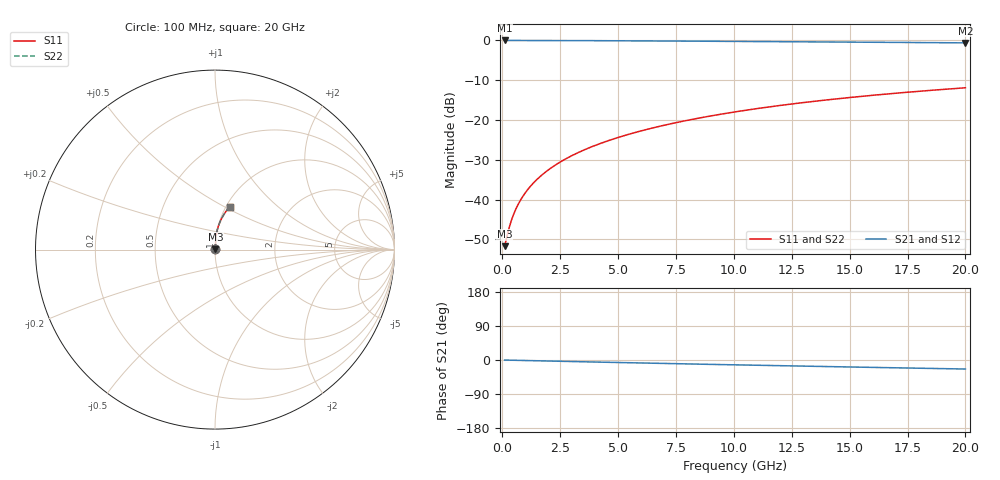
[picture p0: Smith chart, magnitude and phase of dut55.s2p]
! Touchstone file exported from HFSS 2024.1.0
!  File:  C:/UserFiles/LocalFiles/RDL_TSV_Batchsim/temp_RDL_top_55_1778681483.aedt
!  Generated:  10:13:49 PM May 13, 2026
!  Design:  RDL_top
!  Project:  temp_RDL_top_55_1778681483
!  Setup:  Setup1
!  Solution:  Sweep
! Variables:
!  dtsv = 10.80580581um
!  hbump = 3um
!  htsv = 82.56um
!  ldown = 100um
!  lrdl = 305.19um
!  p = 40
!  p1 = 46.38um
!  rhole = 1um
!  t = 450um
!  tdown = 3.915915916um
!  trdl = 2.71um
!  wdown = 15.38538539um
!  wrdl = 20.05um
# GHz S MA R 50.000000
! Terminal data exported
! Port[1] = Box2_T1
! Port[2] = Box2_T2
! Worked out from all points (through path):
!   200 points, 100 MHz to 20 GHz, reference 50 ohm
!   highest |S21| = -0.02 dB at 100 MHz (marker M1); lowest = -0.6 dB at 20 GHz (marker M2)
!   group delay of S21, straight-line fit = 3.29 ps
!   lowest |S11| = -51.7 dB at 100 MHz (marker M3), VSWR 1.01, Z = 50.2 + j0.128 ohm
!   |S11| at or under -10 dB: start of sweep to end of sweep
!   |S22| runs from -51.7 to -11.9 dB; largest |S21 - S12| = 2.5e-15
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0.1  0.002592 29.5  0.9977 -0.1  0.9977 -0.1  0.002592 29.5
! Gamma 0 0 0 0
! Port Impedance 50 0 50 0
0.3  0.004458 57.6  0.9976 -0.4  0.9976 -0.4  0.004458 57.6
0.4  0.005543 63.5  0.9975 -0.6  0.9975 -0.6  0.005543 63.5
0.5  0.006645 67.5  0.9974 -0.7  0.9974 -0.7  0.006645 67.5
0.6  0.007753 70.3  0.9973 -0.8  0.9973 -0.8  0.007753 70.3
0.8  0.009979 74.3  0.9971 -1.1  0.9971 -1.1  0.009979 74.3
1.1  0.01335 77.9  0.9968 -1.5  0.9968 -1.5  0.01335 77.9
1.3  0.01562 79.5  0.9966 -1.8  0.9966 -1.8  0.01562 79.5
1.6  0.01907 81.2  0.9962 -2.2  0.9962 -2.2  0.01907 81.2
2.1  0.02488 83.1  0.9955 -2.8  0.9955 -2.8  0.02488 83.1
2.7  0.03196 84.3  0.9945 -3.6  0.9945 -3.6  0.03196 84.3
3.5  0.04159 85.2  0.9928 -4.7  0.9928 -4.7  0.04159 85.2
4.2  0.05018 85.6  0.991 -5.6  0.991 -5.6  0.05018 85.6
5  0.06018 85.6  0.9888 -6.6  0.9888 -6.6  0.06019 85.6
5.9  0.07164 85.4  0.986 -7.8  0.986 -7.8  0.07165 85.4
6.8  0.08329 85.0  0.9829 -8.9  0.9829 -8.9  0.08329 85.0
8.4  0.1043 83.8  0.9772 -10.8  0.9772 -10.8  0.1043 83.8
10.1  0.1269 82.2  0.9708 -12.9  0.9708 -12.9  0.1269 82.2
11.7  0.1482 80.5  0.9646 -14.7  0.9646 -14.7  0.1482 80.5
13.4  0.1706 78.6  0.9579 -16.6  0.9579 -16.6  0.1706 78.6
16.7  0.213 74.7  0.9446 -20.3  0.9446 -20.3  0.213 74.7
20  0.2537 70.9  0.9307 -23.8  0.9307 -23.8  0.2537 70.9
